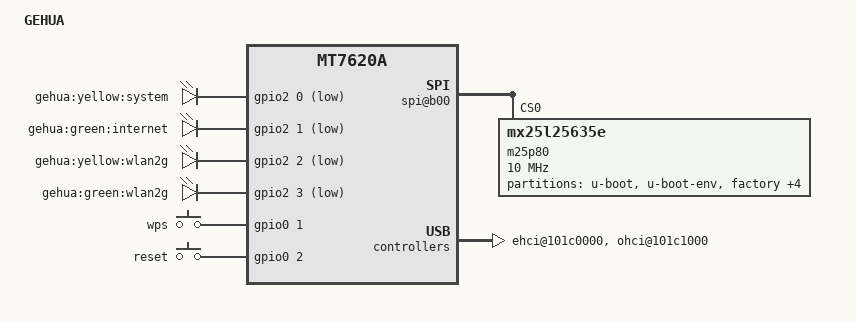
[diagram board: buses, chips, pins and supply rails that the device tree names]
/dts-v1/;

/include/ "mt7620a.dtsi"

/ {
    compatible = "GEHUA", "ralink,mt7620a-soc";
    model = "GEHUA";

	chosen {
		bootargs = "console=ttyS0,57600";
	};

	palmbus@10000000 {
		gpio0: gpio@600 {
			status = "okay";
		};

		gpio1: gpio@638 {
			status = "okay";
		};

		gpio2: gpio@660 {
			status = "okay";
		};

		spi@b00 {
			status = "okay";

			m25p80@0 {
				#address-cells = <1>;
				#size-cells = <1>;
				compatible = "mx25l25635e";
				reg = <0 0>;
				linux,modalias = "m25p80", "mx25l25635e";
				spi-max-frequency = <10000000>;

				partition@0 {
					label = "u-boot";
					reg = <0x0 0x30000>;
				};

				partition@30000 {
					label = "u-boot-env";
					reg = <0x30000 0x10000>;
					read-only;
				};

				factory: partition@40000 {
					label = "factory";
					reg = <0x40000 0x10000>;
					read-only;
				};

				partition@50000 {
					label = "firmware";
					reg = <0x50000 0x1f80000>;
				};

				partition@1fd0000 {
					label = "crash";
					reg = <0x1fd0000 0x10000>;
				};

				partition@1fe0000 {
					label = "reserved";
					reg = <0x1fe0000 0x10000>;
					read-only;
				};

				partition@1ff0000 {
					label = "Bdata";
					reg = <0x1ff0000 0x10000>;
				};
			};
		};
	};

	ehci@101c0000 {
		status = "okay";
	};

	ohci@101c1000 {
		status = "okay";
	};

	ethernet@10100000 {
                pinctrl-names = "default";
                //pinctrl-0 = <&ephy_pins>;
		mtd-mac-address = <&factory 0x4>;
		ralink,port-map = "llllw";
	};

	wmac@10180000 {
		ralink,mtd-eeprom = <&factory 0>;
	};

	pinctrl {
		state_default: pinctrl0 {
			gpio {
				ralink,group = "i2c", "ephy";
				ralink,function = "gpio";
			};
		};
	};

	gpio-leds {
		compatible = "gpio-leds";

		system {
	            label = "gehua:yellow:system";
                    gpios = <&gpio2 0 1>;
		};
	 
		internet {
		    label = "gehua:green:internet";
		    gpios = <&gpio2 1 1>;
		};
	 
		wlan2g {
		    label = "gehua:yellow:wlan2g";
		    gpios = <&gpio2 2 1>;
		};
	 
		wlan2g_green {
		    label = "gehua:green:wlan2g";
		    gpios = <&gpio2 3 1>;
		};
	};

	gpio-keys-polled {
		compatible = "gpio-keys-polled";
		#address-cells = <1>;
		#size-cells = <0>;
		poll-interval = <20>;
		wps {
			label = "wps";
			gpios = <&gpio0 1 0>;
			linux,code = <0x198>;
		};
		reset {
			label = "reset";
			gpios = <&gpio0 2 0>;
			linux,code = <0x198>;
		};
	};
};
